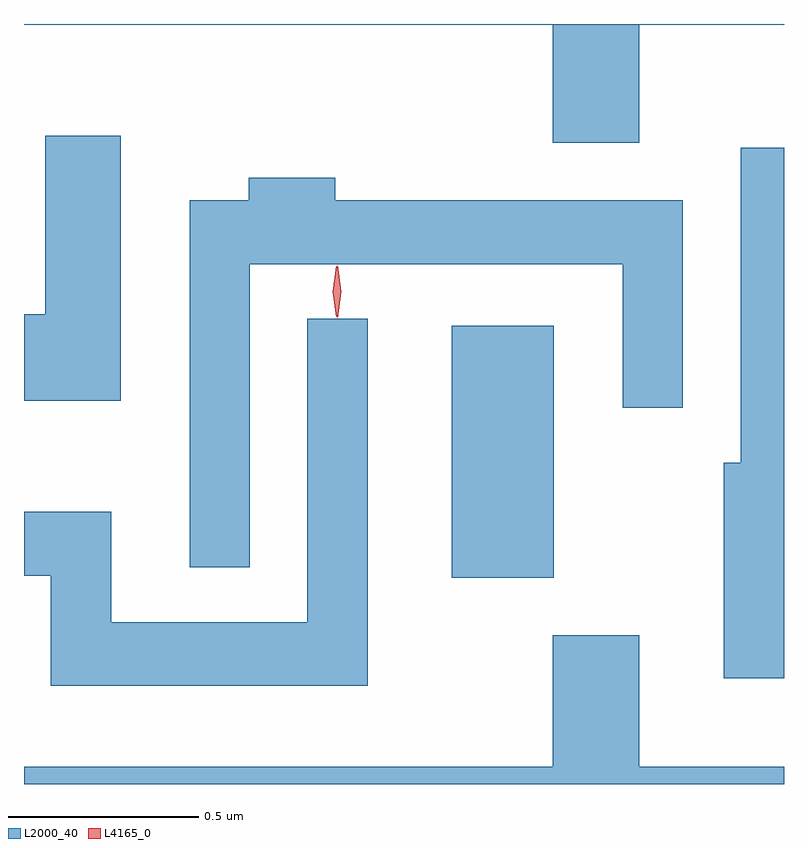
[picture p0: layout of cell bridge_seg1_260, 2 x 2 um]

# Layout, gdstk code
import gdstk
lib = gdstk.Library(unit=1e-6, precision=1e-09)
def R(c, l, rs):  # rectangles x0, y0, x1, y1
    for r in rs: c.add(gdstk.rectangle(r[:2], r[2:], *l))
def P(c, l, *ps):  # polygons
    for p in ps: c.add(gdstk.Polygon(p, *l))
L2000_40 = (2000, 40)
L4165_0 = (4165, 0)

bridge_seg1_260 = lib.new_cell('bridge_seg1_260')
R(bridge_seg1_260, L2000_40, [(957.106,898.121,957.374,898.784)])
P(bridge_seg1_260, L2000_40, [(957.599,899.576),(957.98,899.576),(957.98,899.578),(955.98,899.578),(955.98,899.576),(957.371,899.576),(957.371,899.266),(957.599,899.266)],
  [(956.234,899.284),(956.036,899.284),(956.036,898.814),(955.98,898.814),(955.98,898.586),(956.234,898.586)],
  [(957.98,899.253),(957.866,899.253),(957.866,898.424),(957.821,898.424),(957.821,897.856),(957.98,897.856)],
  [(956.574,898.946),(957.556,898.946),(957.556,898.568),(957.714,898.568),(957.714,899.114),(956.799,899.114),(956.799,899.174),(956.571,899.174),(956.571,899.114),(956.416,899.114),(956.416,898.148),(956.574,898.148)],
  [(956.884,898.803),(956.726,898.803),(956.726,898.004),(956.209,898.004),(956.209,898.294),(955.98,898.294),(955.98,898.126),(956.051,898.126),(956.051,897.836),(956.884,897.836)],
  [(957.98,897.624),(957.599,897.624),(957.599,897.969),(957.371,897.969),(957.371,897.624),(955.98,897.624),(955.98,897.578),(957.98,897.578)])
P(bridge_seg1_260, L4165_0, [(956.805,898.804),(956.796,898.873),(956.805,898.943),(956.806,898.943),(956.806,898.943),(956.815,898.873),(956.806,898.804),(956.806,898.804)],
  [(956.802,898.807),(956.793,898.874),(956.802,898.94),(956.802,898.94),(956.803,898.94),(956.813,898.874),(956.803,898.807),(956.803,898.807)])

lib.write_gds('bridge_seg1_260.gds')
